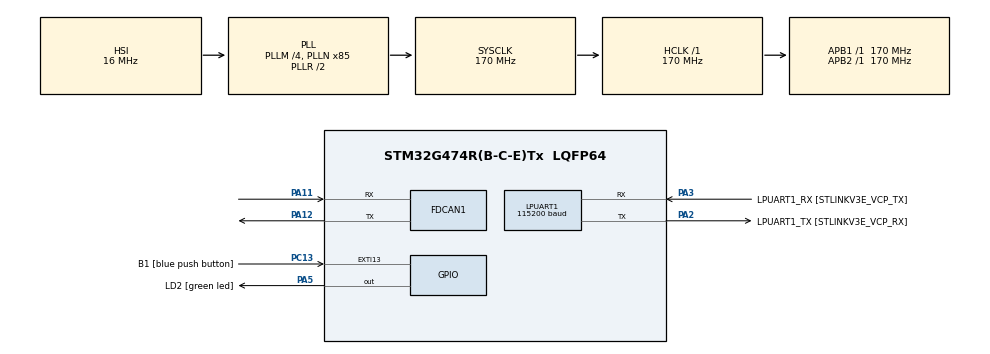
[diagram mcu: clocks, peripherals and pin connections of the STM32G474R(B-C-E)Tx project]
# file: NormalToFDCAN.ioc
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FDCAN1.AutoRetransmission=ENABLE
FDCAN1.CalculateBaudRateNominal=499999
FDCAN1.CalculateTimeBitNominal=2000
FDCAN1.CalculateTimeQuantumNominal=29.411764705882355
FDCAN1.DataSyncJumpWidth=4
FDCAN1.DataTimeSeg1=5
FDCAN1.DataTimeSeg2=4
FDCAN1.FrameFormat=FDCAN_FRAME_CLASSIC
FDCAN1.NominalPrescaler=5
FDCAN1.NominalSyncJumpWidth=16
FDCAN1.NominalTimeSeg1=57
FDCAN1.NominalTimeSeg2=10
FDCAN1.TransmitPause=ENABLE
LPUART1.BaudRate=115200
LPUART1.WordLength=UART_WORDLENGTH_8B
Mcu.Family=STM32G4
Mcu.Name=STM32G474R(B-C-E)Tx
Mcu.Package=LQFP64
NVIC.EXTI15_10_IRQn=true\:0\:0\:false\:false\:true\:true\:true\:true
NVIC.PriorityGroup=NVIC_PRIORITYGROUP_4
PA11.Mode=FDCAN_Activate
PA11.Signal=FDCAN1_RX
PA12.Mode=FDCAN_Activate
PA12.Signal=FDCAN1_TX
PA13.GPIO_Label=T_SWDIO
PA13.Mode=Serial_Wire
PA13.Signal=SYS_JTMS-SWDIO
PA14.GPIO_Label=T_SWCLK
PA14.Mode=Serial_Wire
PA14.Signal=SYS_JTCK-SWCLK
PA2.GPIO_Label=LPUART1_TX [STLINKV3E_VCP_RX]
PA2.Mode=Asynchronous
PA2.Signal=LPUART1_TX
PA3.GPIO_Label=LPUART1_RX [STLINKV3E_VCP_TX]
PA3.Mode=Asynchronous
PA3.Signal=LPUART1_RX
PA5.GPIO_Label=LD2 [green led]
PA5.Signal=GPIO_Output
PB3.GPIO_Label=T_SWO
PB3.Signal=SYS_JTDO-SWO
PC13.GPIO_Label=B1 [blue push button]
PC13.Signal=GPXTI13
PC14-OSC32_IN.Mode=LSE-External-Oscillator
PC14-OSC32_IN.Signal=RCC_OSC32_IN
PC15-OSC32_OUT.Mode=LSE-External-Oscillator
PC15-OSC32_OUT.Signal=RCC_OSC32_OUT
PF0-OSC_IN.Mode=HSE-External-Oscillator
PF0-OSC_IN.Signal=RCC_OSC_IN
PF1-OSC_OUT.Mode=HSE-External-Oscillator
PF1-OSC_OUT.Signal=RCC_OSC_OUT
ProjectManager.HeapSize=0x200
ProjectManager.StackSize=0x400
ProjectManager.TargetToolchain=STM32CubeIDE
RCC.ADC12Freq_Value=170000000
RCC.ADC345Freq_Value=170000000
RCC.AHBFreq_Value=170000000
RCC.APB1Freq_Value=170000000
RCC.APB1TimFreq_Value=170000000
RCC.APB2Freq_Value=170000000
RCC.APB2TimFreq_Value=170000000
RCC.CortexFreq_Value=170000000
RCC.EXTERNAL_CLOCK_VALUE=12288000
RCC.HCLKFreq_Value=170000000
RCC.HSE_VALUE=24000000
RCC.HSI48_VALUE=48000000
RCC.HSI_VALUE=16000000
RCC.PLLM=RCC_PLLM_DIV4
RCC.PLLN=85
RCC.RTCClockSelection=RCC_RTCCLKSOURCE_LSE
RCC.SYSCLKFreq_VALUE=170000000
RCC.SYSCLKSource=RCC_SYSCLKSOURCE_PLLCLK
RCC.USBFreq_Value=170000000
RCC.VCOOutputFreq_Value=340000000
VP_SYS_VS_DBSignals.Mode=DisableDeadBatterySignals
board=NUCLEO-G474RE

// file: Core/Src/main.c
/* USER CODE BEGIN Header */
/**
  ******************************************************************************
  * @file           : main.c
  * @brief          : Main program body
  ******************************************************************************
  * @attention
  *
  * Copyright (c) 2024 STMicroelectronics.
  * All rights reserved.
  *
  * This software is licensed under terms that can be found in the LICENSE file
  * in the root directory of this software component.
  * If no LICENSE file comes with this software, it is provided AS-IS.
  *
  ******************************************************************************
  */
/* USER CODE END Header */
#include "main.h"

FDCAN_HandleTypeDef hfdcan1;

UART_HandleTypeDef hlpuart1;

/* USER CODE BEGIN PV */

//FDCAN_HandleTypeDef sFilterConfig;
FDCAN_TxHeaderTypeDef TxHeader;
FDCAN_RxHeaderTypeDef RxHeader;

uint8_t TxData[2];
uint8_t RxData[2];

//uint8_t testData = 0xAAAA;

int test = 0;

//uint32_t TxMailbox;

/* USER CODE END PV */

void SystemClock_Config(void);
static void MX_GPIO_Init(void);
static void MX_LPUART1_UART_Init(void);
static void MX_FDCAN1_Init(void);
/* USER CODE BEGIN PFP */
static void FDCAN_Config(void);
/* USER CODE END PFP */

int main(void)
{

  /* MCU Configuration--------------------------------------------------------*/

  /* Reset of all peripherals, Initializes the Flash interface and the Systick. */
  HAL_Init();

  /* Configure the system clock */
  SystemClock_Config();

  /* Initialize all configured peripherals */
  MX_GPIO_Init();
  MX_LPUART1_UART_Init();
  MX_FDCAN1_Init();
  /* USER CODE BEGIN 2 */

  FDCAN_Config();
  /* Configure the FDCAN peripheral */

  /*
  HAL_FDCAN_Start(&hfdcan1);

  HAL_FDCAN_ActivateNotification(&hfdcan1, FDCAN_IT_RX_FIFO0_NEW_MESSAGE, FDCAN_TX_BUFFER0);

  TxHeader.DataLength = 2;
  TxHeader.IdType = FDCAN_STANDARD_ID;
  TxHeader.FDFormat = FDCAN_CLASSIC_CAN;
  TxHeader.Identifier = 0x446;
  */

  /* USER CODE END 2 */

  /* Infinite loop */
  /* USER CODE BEGIN WHILE */
  while (1)
  {

	TxData[0] = 0xAA;
	TxData[1] = 0xAA;

	test  = test + 1;

	HAL_FDCAN_AddMessageToTxFifoQ(&hfdcan1, &TxHeader, TxData) != HAL_OK;

			/*
	if (HAL_FDCAN_AddMessageToTxFifoQ(&hfdcan1, &TxHeader, TxData) != HAL_OK)
	{
	/* Transmission request Error /
		Error_Handler();
	}
     */
	//HAL_Delay(10);

    /* USER CODE END WHILE */

  }
}

void SystemClock_Config(void)
{
  RCC_OscInitTypeDef RCC_OscInitStruct = {0};
  RCC_ClkInitTypeDef RCC_ClkInitStruct = {0};

  /** Configure the main internal regulator output voltage
  */
  HAL_PWREx_ControlVoltageScaling(PWR_REGULATOR_VOLTAGE_SCALE1_BOOST);

  /** Initializes the RCC Oscillators according to the specified parameters
  * in the RCC_OscInitTypeDef structure.
  */
  RCC_OscInitStruct.OscillatorType = RCC_OSCILLATORTYPE_HSI;
  RCC_OscInitStruct.HSIState = RCC_HSI_ON;
  RCC_OscInitStruct.HSICalibrationValue = RCC_HSICALIBRATION_DEFAULT;
  RCC_OscInitStruct.PLL.PLLState = RCC_PLL_ON;
  RCC_OscInitStruct.PLL.PLLSource = RCC_PLLSOURCE_HSI;
  RCC_OscInitStruct.PLL.PLLM = RCC_PLLM_DIV4;
  RCC_OscInitStruct.PLL.PLLN = 85;
  RCC_OscInitStruct.PLL.PLLP = RCC_PLLP_DIV2;
  RCC_OscInitStruct.PLL.PLLQ = RCC_PLLQ_DIV2;
  RCC_OscInitStruct.PLL.PLLR = RCC_PLLR_DIV2;
  if (HAL_RCC_OscConfig(&RCC_OscInitStruct) != HAL_OK)
  {
    Error_Handler();
  }

  /** Initializes the CPU, AHB and APB buses clocks
  */
  RCC_ClkInitStruct.ClockType = RCC_CLOCKTYPE_HCLK|RCC_CLOCKTYPE_SYSCLK
                              |RCC_CLOCKTYPE_PCLK1|RCC_CLOCKTYPE_PCLK2;
  RCC_ClkInitStruct.SYSCLKSource = RCC_SYSCLKSOURCE_PLLCLK;
  RCC_ClkInitStruct.AHBCLKDivider = RCC_SYSCLK_DIV1;
  RCC_ClkInitStruct.APB1CLKDivider = RCC_HCLK_DIV1;
  RCC_ClkInitStruct.APB2CLKDivider = RCC_HCLK_DIV1;

  if (HAL_RCC_ClockConfig(&RCC_ClkInitStruct, FLASH_LATENCY_4) != HAL_OK)
  {
    Error_Handler();
  }
}

static void MX_FDCAN1_Init(void)
{

  hfdcan1.Instance = FDCAN1;
  hfdcan1.Init.ClockDivider = FDCAN_CLOCK_DIV1;
  hfdcan1.Init.FrameFormat = FDCAN_FRAME_CLASSIC;
  hfdcan1.Init.Mode = FDCAN_MODE_NORMAL;
  hfdcan1.Init.AutoRetransmission = ENABLE;
  hfdcan1.Init.TransmitPause = ENABLE;
  hfdcan1.Init.ProtocolException = DISABLE;
  hfdcan1.Init.NominalPrescaler = 5;
  hfdcan1.Init.NominalSyncJumpWidth = 16;
  hfdcan1.Init.NominalTimeSeg1 = 57;
  hfdcan1.Init.NominalTimeSeg2 = 10;
  hfdcan1.Init.DataPrescaler = 1;
  hfdcan1.Init.DataSyncJumpWidth = 4;
  hfdcan1.Init.DataTimeSeg1 = 5;
  hfdcan1.Init.DataTimeSeg2 = 4;
  hfdcan1.Init.StdFiltersNbr = 0;
  hfdcan1.Init.ExtFiltersNbr = 0;
  hfdcan1.Init.TxFifoQueueMode = FDCAN_TX_FIFO_OPERATION;
  if (HAL_FDCAN_Init(&hfdcan1) != HAL_OK)
  {
    Error_Handler();
  }

}

static void MX_LPUART1_UART_Init(void)
{

  hlpuart1.Instance = LPUART1;
  hlpuart1.Init.BaudRate = 115200;
  hlpuart1.Init.WordLength = UART_WORDLENGTH_8B;
  hlpuart1.Init.StopBits = UART_STOPBITS_1;
  hlpuart1.Init.Parity = UART_PARITY_NONE;
  hlpuart1.Init.Mode = UART_MODE_TX_RX;
  hlpuart1.Init.HwFlowCtl = UART_HWCONTROL_NONE;
  hlpuart1.Init.OneBitSampling = UART_ONE_BIT_SAMPLE_DISABLE;
  hlpuart1.Init.ClockPrescaler = UART_PRESCALER_DIV1;
  hlpuart1.AdvancedInit.AdvFeatureInit = UART_ADVFEATURE_NO_INIT;
  if (HAL_UART_Init(&hlpuart1) != HAL_OK)
  {
    Error_Handler();
  }
  if (HAL_UARTEx_SetTxFifoThreshold(&hlpuart1, UART_TXFIFO_THRESHOLD_1_8) != HAL_OK)
  {
    Error_Handler();
  }
  if (HAL_UARTEx_SetRxFifoThreshold(&hlpuart1, UART_RXFIFO_THRESHOLD_1_8) != HAL_OK)
  {
    Error_Handler();
  }
  if (HAL_UARTEx_DisableFifoMode(&hlpuart1) != HAL_OK)
  {
    Error_Handler();
  }

}

static void MX_GPIO_Init(void)
{
  GPIO_InitTypeDef GPIO_InitStruct = {0};

  /* GPIO Ports Clock Enable */
  __HAL_RCC_GPIOC_CLK_ENABLE();
  __HAL_RCC_GPIOF_CLK_ENABLE();
  __HAL_RCC_GPIOA_CLK_ENABLE();
  __HAL_RCC_GPIOB_CLK_ENABLE();

  /*Configure GPIO pin Output Level */
  HAL_GPIO_WritePin(LD2_GPIO_Port, LD2_Pin, GPIO_PIN_RESET);

  /*Configure GPIO pin : B1_Pin */
  GPIO_InitStruct.Pin = B1_Pin;
  GPIO_InitStruct.Mode = GPIO_MODE_IT_RISING;
  GPIO_InitStruct.Pull = GPIO_NOPULL;
  HAL_GPIO_Init(B1_GPIO_Port, &GPIO_InitStruct);

  /*Configure GPIO pin : LD2_Pin */
  GPIO_InitStruct.Pin = LD2_Pin;
  GPIO_InitStruct.Mode = GPIO_MODE_OUTPUT_PP;
  GPIO_InitStruct.Pull = GPIO_NOPULL;
  GPIO_InitStruct.Speed = GPIO_SPEED_FREQ_LOW;
  HAL_GPIO_Init(LD2_GPIO_Port, &GPIO_InitStruct);

  /* EXTI interrupt init*/
  HAL_NVIC_SetPriority(EXTI15_10_IRQn, 0, 0);
  HAL_NVIC_EnableIRQ(EXTI15_10_IRQn);

}

/* USER CODE BEGIN 4 */
static void FDCAN_Config(void)
{
  FDCAN_FilterTypeDef sFilterConfig;

  /* Configure Rx filter */
  sFilterConfig.IdType = FDCAN_STANDARD_ID;
  sFilterConfig.FilterIndex = 0;
  sFilterConfig.FilterType = FDCAN_FILTER_MASK;
  sFilterConfig.FilterConfig = FDCAN_FILTER_TO_RXFIFO0;
  sFilterConfig.FilterID1 = 0x321;
  sFilterConfig.FilterID2 = 0x7FF;
  if (HAL_FDCAN_ConfigFilter(&hfdcan1, &sFilterConfig) != HAL_OK)
  {
    Error_Handler();
  }

  /* Configure global filter:
     Filter all remote frames with STD and EXT ID
     Reject non matching frames with STD ID and EXT ID */
  if (HAL_FDCAN_ConfigGlobalFilter(&hfdcan1, FDCAN_REJECT, FDCAN_REJECT, FDCAN_FILTER_REMOTE, FDCAN_FILTER_REMOTE) != HAL_OK)
  {
    Error_Handler();
  }

  /* Start the FDCAN module */
  if (HAL_FDCAN_Start(&hfdcan1) != HAL_OK)
  {
    Error_Handler();
  }

  if (HAL_FDCAN_ActivateNotification(&hfdcan1, FDCAN_IT_RX_FIFO0_NEW_MESSAGE, 0) != HAL_OK)
  {
    Error_Handler();
  }

  /* Prepare Tx Header */
  TxHeader.Identifier = 0x321;
  TxHeader.IdType = FDCAN_STANDARD_ID;
  TxHeader.TxFrameType = FDCAN_DATA_FRAME;
  TxHeader.DataLength = FDCAN_DLC_BYTES_2;
  TxHeader.ErrorStateIndicator = FDCAN_ESI_ACTIVE;
  TxHeader.BitRateSwitch = FDCAN_BRS_OFF;
  TxHeader.FDFormat = FDCAN_CLASSIC_CAN;
  TxHeader.TxEventFifoControl = FDCAN_NO_TX_EVENTS;
  TxHeader.MessageMarker = 0;
}

/* USER CODE END 4 */

void Error_Handler(void)
{
  /* USER CODE BEGIN Error_Handler_Debug */
  /* User can add his own implementation to report the HAL error return state */
  __disable_irq();
  while (1)
  {
	  printf("ERROR");
  }
  /* USER CODE END Error_Handler_Debug */
}
